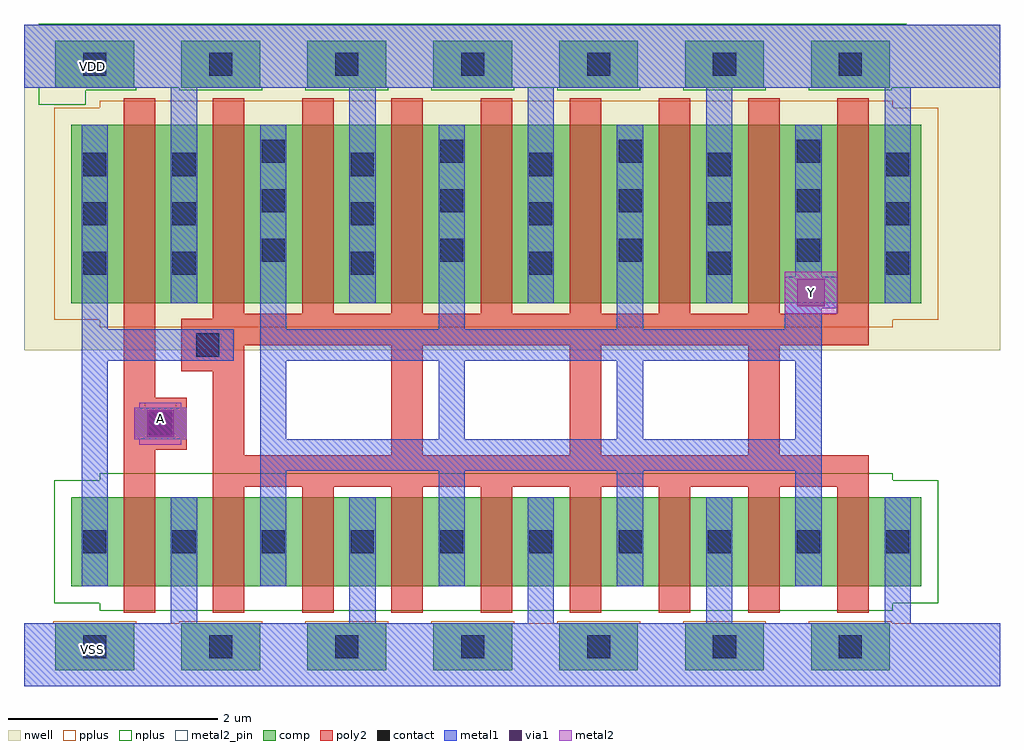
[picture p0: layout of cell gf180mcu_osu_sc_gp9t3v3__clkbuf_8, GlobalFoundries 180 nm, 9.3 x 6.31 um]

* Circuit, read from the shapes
.subckt gf180mcu_osu_sc_gp9t3v3__clkbuf_8 A VDD VSS Y
XM1 VSS A n1 VSS nfet_03v3 w=0.85u l=0.3u
XM2 Y n1 VSS VSS nfet_03v3 w=0.85u l=0.3u m=8
XM3 VDD A n1 VDD pfet_03v3 w=1.7u l=0.3u
XM4 Y n1 VDD VDD pfet_03v3 w=1.7u l=0.3u m=8
.ends

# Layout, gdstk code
import gdstk
lib = gdstk.Library(unit=1e-6, precision=1e-09)
def R(c, l, rs):  # rectangles x0, y0, x1, y1
    for r in rs: c.add(gdstk.rectangle(r[:2], r[2:], *l))
def A(c, l, x, y, w, h, nx, ny, dx, dy):  # array of equal rectangles
    R(c, l, [(x+i*dx, y+j*dy, x+i*dx+w, y+j*dy+h) for i in range(nx) for j in range(ny)])
nwell = (21, 0)
comp = (22, 0)
poly2 = (30, 0)
pplus = (31, 0)
nplus = (32, 0)
contact = (33, 0)
metal1 = (34, 0)
via1 = (35, 0)
metal2 = (36, 0)
metal2_pin = (36, 10)

gf180mcu_osu_sc_gp9t3v3_ = lib.new_cell('gf180mcu_osu_sc_gp9t3v3__clkbuf_8')
R(gf180mcu_osu_sc_gp9t3v3_, nwell, [(0,3.2,9.3,6.3)])
A(gf180mcu_osu_sc_gp9t3v3_, comp, 0.3, 0.15, 0.75, 0.45, 7, 2, 1.2, 5.55)
R(gf180mcu_osu_sc_gp9t3v3_, comp, [(0.45,0.95,8.55,1.8), (0.45,3.65,8.55,5.35)])
A(gf180mcu_osu_sc_gp9t3v3_, poly2, 1.8, 0.7, 0.3, 1.2, 8, 1, 0.85, 0)
A(gf180mcu_osu_sc_gp9t3v3_, poly2, 3.5, 2.2, 0.3, 1.05, 3, 1, 1.7, 0)
A(gf180mcu_osu_sc_gp9t3v3_, poly2, 1.8, 3.55, 0.3, 2.05, 8, 1, 0.85, 0)
R(gf180mcu_osu_sc_gp9t3v3_, poly2, [(0.95,0.7,1.25,2.25), (1.8,1.9,8.05,2.2), (1.8,2.2,2.1,3), (0.95,2.25,1.55,2.75), (0.95,2.75,1.25,5.6), (1.5,3,2.1,3.25), (1.5,3.25,8.05,3.5), (1.8,3.5,8.05,3.55)])
A(gf180mcu_osu_sc_gp9t3v3_, pplus, 0.28, 0.13, 0.79, 0.49, 7, 1, 1.2, 0)
R(gf180mcu_osu_sc_gp9t3v3_, pplus, [(0,0,9.3,0.6), (0.72,3.42,8.28,3.49), (0.29,3.49,8.71,5.51), (0.72,5.51,8.28,5.58)])
A(gf180mcu_osu_sc_gp9t3v3_, nplus, 1.48, 5.68, 0.79, 0.02, 6, 1, 1.2, 0)
R(gf180mcu_osu_sc_gp9t3v3_, nplus, [(0.72,0.72,8.28,0.79), (0.29,0.79,8.71,1.96), (0.72,1.96,8.28,2.03), (0.14,5.54,0.59,5.68), (0.14,5.68,1.07,5.7), (0,5.7,9.3,6.3), (0,5.7,9.3,6.3), (0.14,6.3,8.41,6.31)])
A(gf180mcu_osu_sc_gp9t3v3_, contact, 0.565, 0.265, 0.22, 0.22, 7, 2, 1.2, 5.55)
A(gf180mcu_osu_sc_gp9t3v3_, contact, 0.565, 1.265, 0.22, 0.22, 10, 1, 0.85, 0)
A(gf180mcu_osu_sc_gp9t3v3_, contact, 0.565, 3.92, 0.22, 0.22, 1, 3, 0, 0.47)
A(gf180mcu_osu_sc_gp9t3v3_, contact, 1.415, 3.92, 0.22, 0.22, 5, 3, 1.7, 0.47)
A(gf180mcu_osu_sc_gp9t3v3_, contact, 2.265, 4.045, 0.22, 0.22, 4, 3, 1.7, 0.47)
R(gf180mcu_osu_sc_gp9t3v3_, contact, [(1.19,2.39,1.41,2.61), (1.64,3.14,1.86,3.36)])
A(gf180mcu_osu_sc_gp9t3v3_, metal1, 1.4, 0.6, 0.25, 1.2, 5, 1, 1.7, 0)
A(gf180mcu_osu_sc_gp9t3v3_, metal1, 2.25, 0.95, 0.25, 1.1, 4, 1, 1.7, 0)
A(gf180mcu_osu_sc_gp9t3v3_, metal1, 2.25, 2.35, 0.25, 0.75, 4, 1, 1.7, 0)
A(gf180mcu_osu_sc_gp9t3v3_, metal1, 0.55, 3.4, 0.25, 1.95, 4, 1, 1.7, 0)
A(gf180mcu_osu_sc_gp9t3v3_, metal1, 1.4, 3.65, 0.25, 2.05, 5, 1, 1.7, 0)
R(gf180mcu_osu_sc_gp9t3v3_, metal1, [(0,0,9.3,0.6), (0.55,0.95,0.8,3.1), (2.25,2.05,7.6,2.35), (1.05,2.35,1.55,2.65), (0.55,3.1,2,3.4), (2.25,3.1,7.6,3.4), (7.25,3.4,7.6,3.6), (7.25,3.6,7.75,3.9), (7.35,3.9,7.6,5.35), (0,5.7,9.3,6.3)])
R(gf180mcu_osu_sc_gp9t3v3_, via1, [(1.17,2.37,1.43,2.63), (7.37,3.62,7.63,3.88)])
R(gf180mcu_osu_sc_gp9t3v3_, metal2, [(1.1,2.3,1.5,2.35), (1.05,2.35,1.55,2.65), (1.1,2.65,1.5,2.7), (7.25,3.55,7.75,3.95)])
R(gf180mcu_osu_sc_gp9t3v3_, metal2_pin, [(1.15,2.4,1.45,2.7)])
gf180mcu_osu_sc_gp9t3v3_.add(gdstk.Label('Y', (7.5,3.75), layer=36, texttype=10))
gf180mcu_osu_sc_gp9t3v3_.add(gdstk.Label('VDD', (0.65,5.9), layer=22, texttype=0))
gf180mcu_osu_sc_gp9t3v3_.add(gdstk.Label('VSS', (0.65,0.35), layer=22, texttype=0))
gf180mcu_osu_sc_gp9t3v3_.add(gdstk.Label('A', (1.3,2.55), layer=36, texttype=10))

lib.write_gds('gf180mcu_osu_sc_gp9t3v3__clkbuf_8.gds')
